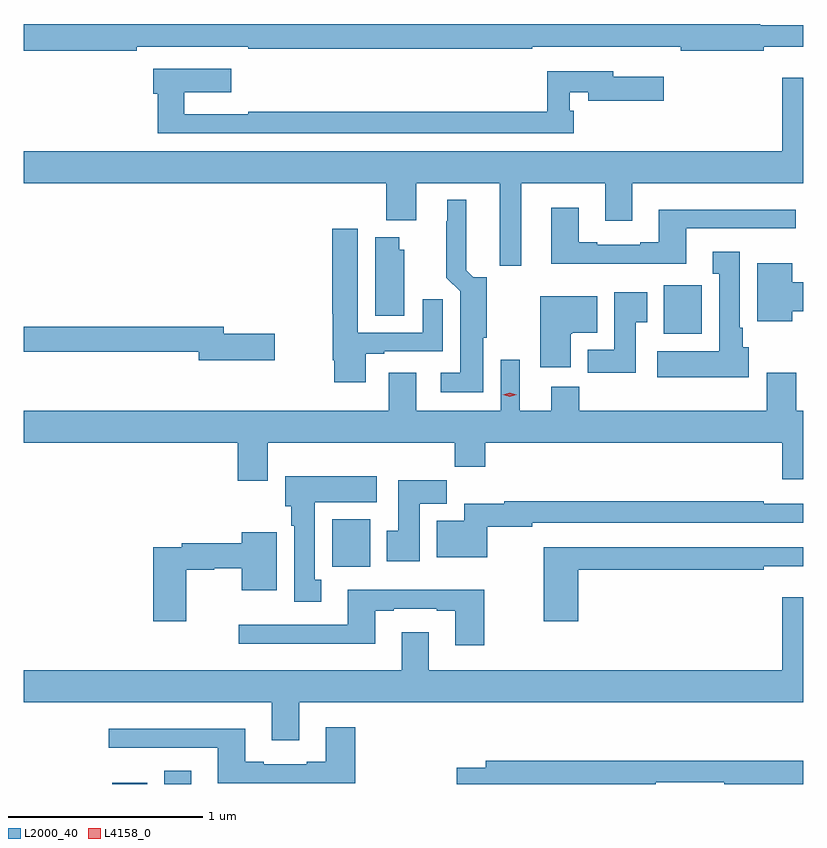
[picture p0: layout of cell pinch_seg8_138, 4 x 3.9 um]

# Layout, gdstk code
import gdstk
lib = gdstk.Library(unit=1e-6, precision=1e-09)
def R(c, l, rs):  # rectangles x0, y0, x1, y1
    for r in rs: c.add(gdstk.rectangle(r[:2], r[2:], *l))
def P(c, l, *ps):  # polygons
    for p in ps: c.add(gdstk.Polygon(p, *l))
L2000_40 = (2000, 40)
L4158_0 = (4158, 0)

pinch_seg8_138 = lib.new_cell('pinch_seg8_138')
R(pinch_seg8_138, L2000_40, [(808.922,1134.729,809.101,1134.736), (809.189,1134.729,809.329,1134.796), (810.05,1135.844,810.247,1136.086), (811.751,1137.038,811.947,1137.289)])
P(pinch_seg8_138, L2000_40, [(809.048,1138.512),(809.62,1138.512),(809.62,1138.5),(811.076,1138.5),(811.076,1138.512),(811.588,1138.512),(811.588,1138.511),(811.84,1138.511),(811.84,1138.492),(812.264,1138.492),(812.264,1138.511),(812.468,1138.511),(812.468,1138.621),(812.248,1138.621),(812.248,1138.628),(808.468,1138.628),(808.468,1138.492),(809.048,1138.492)],
  [(811.289,1138.182),(811.269,1138.182),(811.269,1138.278),(811.364,1138.278),(811.364,1138.235),(811.753,1138.235),(811.753,1138.357),(811.492,1138.357),(811.492,1138.386),(811.153,1138.386),(811.153,1138.177),(809.62,1138.177),(809.62,1138.164),(809.291,1138.164),(809.291,1138.277),(809.533,1138.277),(809.533,1138.399),(809.132,1138.399),(809.132,1138.27),(809.155,1138.27),(809.155,1138.068),(811.289,1138.068)],
  [(811.021,1137.812),(811.451,1137.812),(811.451,1137.618),(811.591,1137.618),(811.591,1137.812),(812.468,1137.812),(812.468,1138.351),(812.36,1138.351),(812.36,1137.976),(808.468,1137.976),(808.468,1137.812),(810.329,1137.812),(810.329,1137.62),(810.481,1137.62),(810.481,1137.812),(810.911,1137.812),(810.911,1137.387),(811.021,1137.387)],
  [(810.826,1137.018),(810.844,1137.018),(810.844,1137.328),(810.774,1137.328),(810.739,1137.364),(810.739,1137.727),(810.641,1137.727),(810.641,1137.617),(810.637,1137.617),(810.637,1137.326),(810.707,1137.256),(810.707,1136.839),(810.609,1136.839),(810.609,1136.738),(810.826,1136.738)],
  [(811.867,1137.579),(812.428,1137.579),(812.428,1137.676),(811.727,1137.676),(811.727,1137.508),(811.631,1137.508),(811.631,1137.495),(811.411,1137.495),(811.411,1137.508),(811.315,1137.508),(811.315,1137.685),(811.175,1137.685),(811.175,1137.398),(811.867,1137.398)],
  [(810.223,1136.937),(810.319,1136.937),(810.319,1136.949),(810.619,1136.949),(810.619,1137.217),(810.515,1137.217),(810.515,1137.045),(810.181,1137.045),(810.181,1137.577),(810.05,1137.577),(810.05,1137.142),(810.055,1137.142),(810.055,1136.902),(810.062,1136.902),(810.062,1136.79),(810.223,1136.79)],
  [(810.421,1137.471),(810.394,1137.471),(810.394,1137.535),(810.272,1137.535),(810.272,1137.13),(810.421,1137.13)],
  [(812.188,1136.97),(812.158,1136.97),(812.158,1137.07),(812.143,1137.07),(812.143,1137.46),(812.003,1137.46),(812.003,1137.347),(812.036,1137.347),(812.036,1136.95),(811.719,1136.95),(811.719,1136.816),(812.188,1136.816)],
  [(812.41,1137.155),(812.468,1137.155),(812.468,1137.302),(812.41,1137.302),(812.41,1137.4),(812.231,1137.4),(812.231,1137.104),(812.41,1137.104)],
  [(811.609,1137.097),(811.666,1137.097),(811.666,1137.253),(811.499,1137.253),(811.499,1136.956),(811.361,1136.956),(811.361,1136.838),(811.609,1136.838)],
  [(811.276,1137.038),(811.282,1137.038),(811.282,1137.044),(811.411,1137.044),(811.411,1137.232),(811.118,1137.232),(811.118,1136.868),(811.276,1136.868)],
  [(809.755,1137.038),(809.494,1137.038),(809.494,1137.074),(808.468,1137.074),(808.468,1136.946),(809.366,1136.946),(809.366,1136.903),(809.755,1136.903)],
  [(809.719,1136.48),(810.679,1136.48),(810.679,1136.356),(810.836,1136.356),(810.836,1136.48),(812.36,1136.48),(812.36,1136.292),(812.468,1136.292),(812.468,1136.644),(812.432,1136.644),(812.432,1136.839),(812.279,1136.839),(812.279,1136.644),(811.319,1136.644),(811.319,1136.768),(811.175,1136.768),(811.175,1136.644),(811.012,1136.644),(811.012,1136.905),(810.915,1136.905),(810.915,1136.644),(810.481,1136.644),(810.481,1136.839),(810.341,1136.839),(810.341,1136.644),(808.468,1136.644),(808.468,1136.48),(809.567,1136.48),(809.567,1136.286),(809.719,1136.286)],
  [(809.995,1135.778),(809.962,1135.778),(809.962,1136.174),(810.28,1136.174),(810.28,1136.308),(809.81,1136.308),(809.81,1136.154),(809.84,1136.154),(809.84,1136.054),(809.855,1136.054),(809.855,1135.665),(809.995,1135.665)],
  [(810.499,1136.168),(810.638,1136.168),(810.638,1136.287),(810.389,1136.287),(810.389,1136.028),(810.332,1136.028),(810.332,1135.872),(810.499,1135.872)],
  [(810.846,1136.05),(811.076,1136.05),(811.076,1136.07),(812.468,1136.07),(812.468,1136.166),(812.264,1136.166),(812.264,1136.179),(810.934,1136.179),(810.934,1136.168),(810.728,1136.168),(810.728,1136.08),(810.587,1136.08),(810.587,1135.892),(810.846,1135.892)],
  [(809.302,1135.828),(809.445,1135.828),(809.445,1135.836),(809.588,1135.836),(809.588,1135.724),(809.767,1135.724),(809.767,1136.02),(809.588,1136.02),(809.588,1135.964),(809.278,1135.964),(809.278,1135.944),(809.132,1135.944),(809.132,1135.563),(809.302,1135.563)],
  [(811.313,1135.828),(812.264,1135.828),(812.264,1135.847),(812.468,1135.847),(812.468,1135.944),(811.135,1135.944),(811.135,1135.563),(811.313,1135.563)],
  [(810.831,1135.726),(810.131,1135.726),(810.131,1135.545),(809.571,1135.545),(809.571,1135.448),(810.271,1135.448),(810.271,1135.617),(810.367,1135.617),(810.367,1135.629),(810.587,1135.629),(810.587,1135.617),(810.683,1135.617),(810.683,1135.44),(810.831,1135.44)],
  [(809.881,1135.148),(812.468,1135.148),(812.468,1135.687),(812.36,1135.687),(812.36,1135.312),(810.547,1135.312),(810.547,1135.507),(810.407,1135.507),(810.407,1135.312),(808.468,1135.312),(808.468,1135.148),(809.741,1135.148),(809.741,1134.954),(809.881,1134.954)],
  [(810.17,1135.021),(810.017,1135.021),(810.017,1134.844),(809.921,1134.844),(809.921,1134.831),(809.701,1134.831),(809.701,1134.844),(809.605,1134.844),(809.605,1135.012),(808.905,1135.012),(808.905,1134.915),(809.465,1134.915),(809.465,1134.734),(810.17,1134.734)],
  [(811.712,1134.738),(812.062,1134.738),(812.062,1134.729),(812.468,1134.729),(812.468,1134.847),(810.839,1134.847),(810.839,1134.813),(810.69,1134.813),(810.69,1134.729),(811.712,1134.729)])
P(pinch_seg8_138, L4158_0, [(810.962,1136.715),(810.927,1136.725),(810.927,1136.725),(810.927,1136.725),(810.962,1136.735),(810.998,1136.725),(810.998,1136.725),(810.998,1136.725)])

lib.write_gds('pinch_seg8_138.gds')
